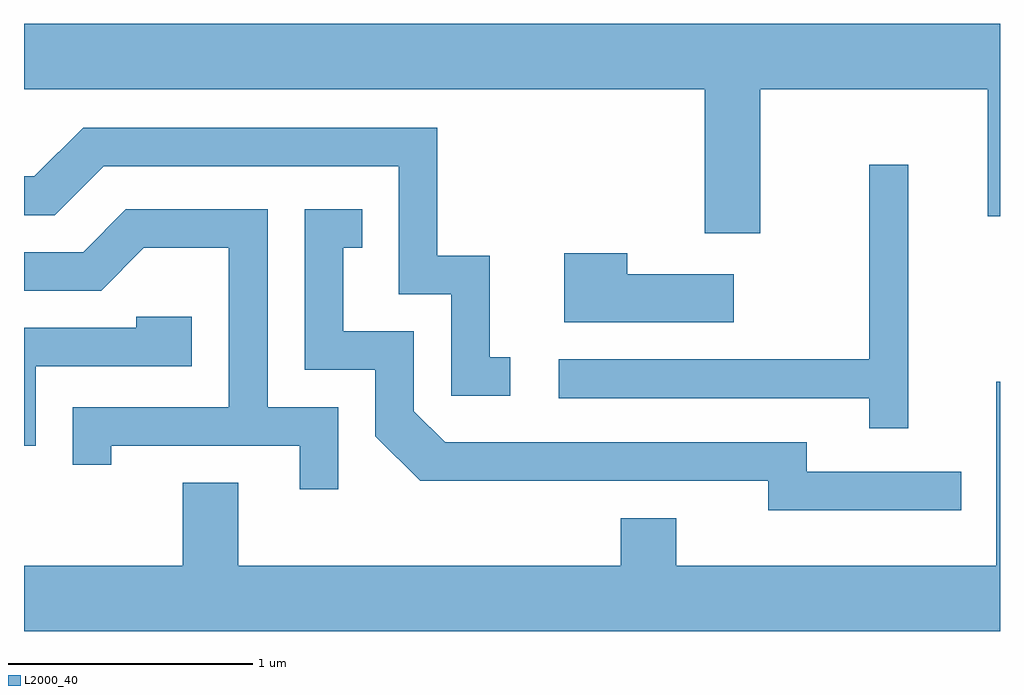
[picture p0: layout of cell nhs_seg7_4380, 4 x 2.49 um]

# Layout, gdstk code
import gdstk
lib = gdstk.Library(unit=1e-6, precision=1e-09)
def P(c, l, *ps):  # polygons
    for p in ps: c.add(gdstk.Polygon(p, *l))
L2000_40 = (2000, 40)

nhs_seg7_4380 = lib.new_cell('nhs_seg7_4380')
P(nhs_seg7_4380, L2000_40, [(322.629,1743.176),(323.561,1743.176),(323.561,1742.656),(323.611,1742.656),(323.611,1743.444),(319.611,1743.444),(319.611,1743.176),(322.401,1743.176),(322.401,1742.586),(322.629,1742.586)],
  [(321.603,1742.079),(321.519,1742.079),(321.519,1742.494),(321.304,1742.494),(321.304,1743.019),(319.854,1743.019),(319.654,1742.819),(319.611,1742.819),(319.611,1742.661),(319.737,1742.661),(319.937,1742.861),(321.146,1742.861),(321.146,1742.336),(321.361,1742.336),(321.361,1741.921),(321.603,1741.921)],
  [(323.234,1742.868),(323.076,1742.868),(323.076,1742.069),(321.803,1742.069),(321.803,1741.911),(323.076,1741.911),(323.076,1741.788),(323.234,1741.788)],
  [(320.899,1741.874),(320.609,1741.874),(320.609,1742.684),(320.029,1742.684),(319.854,1742.509),(319.611,1742.509),(319.611,1742.351),(319.927,1742.351),(320.102,1742.526),(320.451,1742.526),(320.451,1741.874),(319.811,1741.874),(319.811,1741.638),(319.969,1741.638),(319.969,1741.716),(320.741,1741.716),(320.741,1741.538),(320.899,1741.538)],
  [(323.453,1741.609),(322.819,1741.609),(322.819,1741.729),(321.337,1741.729),(321.209,1741.857),(321.209,1742.184),(320.919,1742.184),(320.919,1742.526),(320.998,1742.526),(320.998,1742.684),(320.761,1742.684),(320.761,1742.026),(321.051,1742.026),(321.051,1741.754),(321.234,1741.571),(322.661,1741.571),(322.661,1741.451),(323.453,1741.451)],
  [(322.519,1742.419),(322.084,1742.419),(322.084,1742.504),(321.826,1742.504),(321.826,1742.221),(322.519,1742.221)],
  [(319.659,1742.041),(320.299,1742.041),(320.299,1742.244),(320.071,1742.244),(320.071,1742.199),(319.611,1742.199),(319.611,1741.716),(319.659,1741.716)],
  [(323.611,1741.978),(323.596,1741.978),(323.596,1741.224),(322.284,1741.224),(322.284,1741.419),(322.056,1741.419),(322.056,1741.224),(320.489,1741.224),(320.489,1741.564),(320.261,1741.564),(320.261,1741.224),(319.611,1741.224),(319.611,1740.956),(323.611,1740.956)])

lib.write_gds('nhs_seg7_4380.gds')
